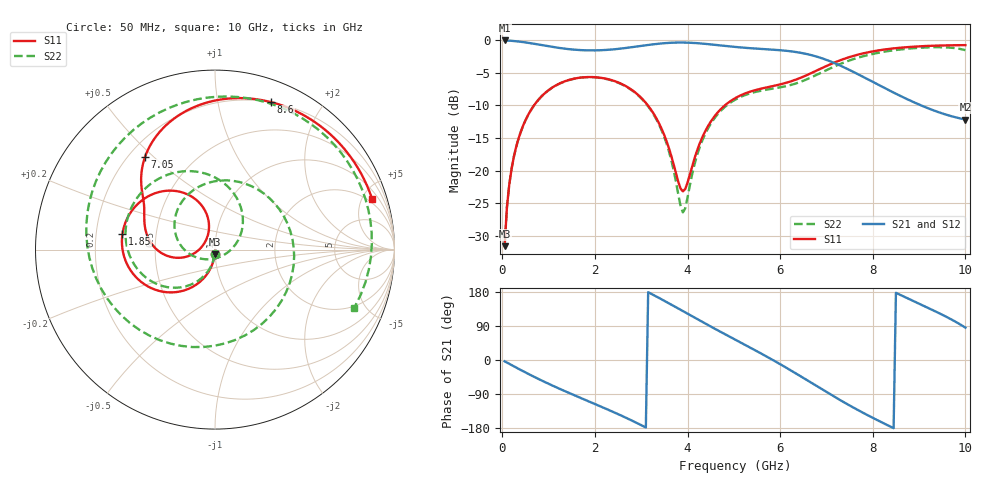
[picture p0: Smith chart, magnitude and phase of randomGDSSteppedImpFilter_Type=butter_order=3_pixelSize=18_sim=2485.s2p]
! freq	dB(S11)	phase(S11)	dB(S12)	phase(S12)
!  dB(S21)	phase(S21)	dB(S22)	phase(S22)
!S-par simulation data
#  GHz  S  DB  R 50
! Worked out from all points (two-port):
!   200 points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, 50 MHz to 10 GHz, reference 50 ohm
!   highest |S21| = -0.01 dB at 50 MHz (marker M1); lowest = -12.2 dB at 10 GHz (marker M2)
!   |S21| within 3 dB of the highest: start of sweep to 7.006 GHz
!   lowest |S11| = -31.6 dB at 50 MHz (marker M3), VSWR 1.05, Z = 49.8 - j2.61 ohm
!   |S11| at or under -10 dB: start of sweep to 684.5 MHz; 3.145 GHz to 4.805 GHz (1.66 GHz wide, 41.8 % of centre)
!   |S22| runs from -31.6 to -1.0 dB; largest |S21 - S12| = 0
!   S11 on the Smith chart (normalised r, x): 50 MHz: 1.00, -0.05; 1.85 GHz: 0.32, +0.08; 7.05 GHz: 0.26, +0.47; 8.6 GHz: 0.20, +1.43; 10 GHz: 1.65, +5.97
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0.05  -31.62 -93.1  -0.01 -3.4  -0.01 -3.4  -31.62 -93.5
0.2  -19.75 -102.8  -0.07 -13.4  -0.07 -13.4  -19.75 -104.5
0.5  -12.28 -121.1  -0.31 -32.8  -0.31 -32.8  -12.30 -125.5
1.05  -7.39 -151.4  -0.96 -65.6  -0.96 -65.6  -7.40 -160.8
1.75  -5.67 175.0  -1.51 -103.1  -1.51 -103.1  -5.69 158.0
1.85  -5.63 170.4  -1.53 -108.3  -1.53 -108.3  -5.66 152.3
2.65  -6.96 134.5  -1.18 -151.2  -1.18 -151.2  -7.01 103.3
3.4  -12.98 104.4  -0.49 162.8  -0.49 162.8  -13.17 44.9
3.9  -23.20 147.9  -0.33 129.0  -0.33 129.0  -26.43 -68.8
4.35  -14.42 -166.4  -0.51 98.4  -0.51 98.4  -14.86 176.8
5.05  -8.79 173.1  -1.02 52.4  -1.02 52.4  -9.02 109.2
5.55  -7.48 158.6  -1.29 19.7  -1.29 19.7  -7.79 59.5
6.05  -6.67 148.4  -1.54 -14.5  -1.54 -14.5  -7.15 1.4
6.35  -6.00 143.4  -1.79 -36.2  -1.79 -36.2  -6.60 -37.6
6.7  -4.93 136.6  -2.31 -62.2  -2.31 -62.2  -5.59 -83.9
7.05  -3.77 127.0  -3.13 -88.1  -3.13 -88.1  -4.40 -127.4
7.65  -2.25 105.7  -5.09 -130.1  -5.09 -130.1  -2.73 168.7
8.35  -1.31 78.8  -7.66 -173.9  -7.66 -173.9  -1.63 108.3
8.6  -1.12 69.2  -8.55 171.5  -8.55 171.5  -1.39 89.1
9  -0.92 54.2  -9.86 148.6  -9.86 148.6  -1.14 59.6
9.45  -0.79 37.5  -11.10 122.5  -11.10 122.5  -1.05 26.4
10  -0.73 17.7  -12.16 85.3  -12.16 85.3  -1.51 -22.7
